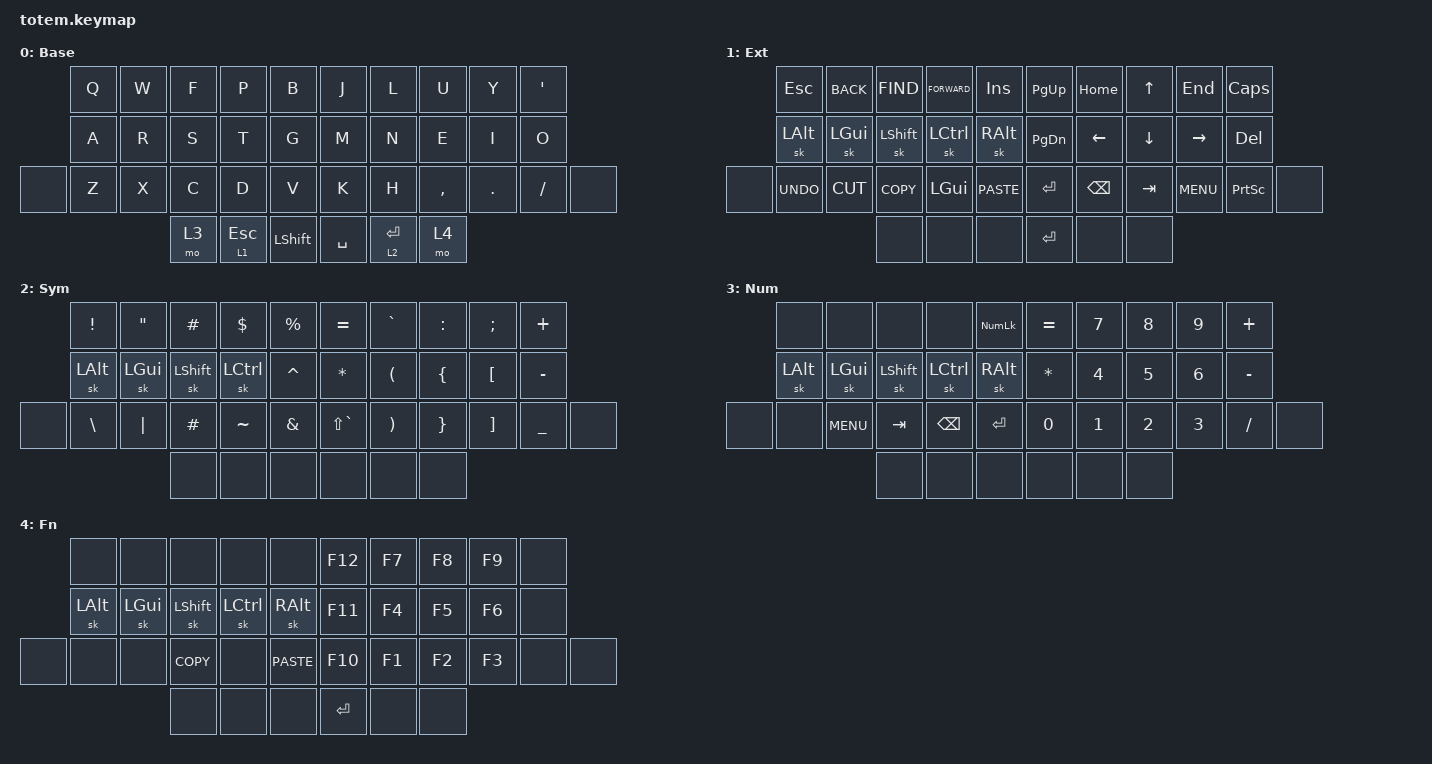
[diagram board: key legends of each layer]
//
//                                                        ▀▀▀▀▀     ▀▀▀▀▀          ▀▀█▀▀
//                                                        ▄▀▀▀▄  ▄  ▄▀▀▀▄  ▄  ▄▀▀▀▄  █  ▄▀▀▀▄
//                                                        █   █  █  █   █  █  █   █  █  █   █
//                                                         ▀▀▀   █   ▀▀▀   █   ▀▀▀   ▀   ▀▀▀
//                                                               █      ▄▄▄█▄▄▄    █   █  
//                                                               ▀      █  █  █     █▄█
//                                                             ▀▀▀▀▀    █  █  █      ▀
//                                                                      ▀  ▀  ▀
//
// ▄▄▄▄▄▄▄▄▄▄▄▄▄▄▄▄▄▄▄▄▄▄▄▄▄▄▄▄▄▄▄▄▄▄▄▄▄▄▄▄▄▄▄▄▄▄▄▄▄▄▄▄▄▄▄▄▄▄▄▄▄▄▄▄▄▄▄▄▄▄▄▄▄▄▄▄▄▄▄▄▄▄▄▄▄▄▄▄▄▄▄▄▄▄▄▄▄▄▄▄▄▄▄▄▄▄▄▄▄▄▄▄▄▄▄▄▄▄▄▄▄▄▄▄▄▄▄▄▄▄▄▄▄▄▄▄▄▄▄▄▄▄▄▄▄▄▄▄▄

#include <behaviors.dtsi>
#include <dt-bindings/zmk/keys.h>

#define Base        0
#define Media       1
#define Nav         2
#define Mouse       3
#define Sym         4
#define Num         5
#define Fun         6
#define Button      7
#define Game        8
#define Gameplus    9

&mt {
    quick-tap-ms = <100>;
    global-quick-tap;
    flavor = "tap-preferred";
    tapping-term-ms = <170>;
};

&lt {
    tapping-term-ms = <240>;
    flavor = "balanced";
    quick-tap-ms = <150>;
};

/ {
    behaviors {
        hm: homerow_mods {
            compatible = "zmk,behavior-hold-tap";
            label = "HOMEROW_MODS";
            #binding-cells = <2>;
            flavor = "tap-preferred";
            tapping-term-ms = <200>;
            quick-tap-ms = <125>;
            global-quick-tap;
            bindings = <&kp>, <&kp>;
        };
    };

    combos {
        compatible = "zmk,combos";

        combo_esc {
            timeout-ms = <50>;
            key-positions = <16 17>;
            bindings = <&kp ESC>;
        };
    };

    keymap {
        compatible = "zmk,keymap";

        Base {
            label = "Base";
            bindings = <
       &kp Q  &kp W  &kp F  &kp P         &kp B             &kp J      &kp L        &kp U      &kp Y    &kp APOSTROPHE
       &kp A  &kp R  &kp S  &kp T         &kp G             &kp M      &kp N        &kp E      &kp I    &kp O
&none  &kp Z  &kp X  &kp C  &kp D         &kp V             &kp K      &kp H        &kp COMMA  &kp DOT  &kp SLASH       &none
                     &mo 3  &lt 1 ESCAPE  &kp LEFT_SHIFT    &kp SPACE  &lt 2 ENTER  &mo 4
            >;
        };

        Ext {
            label = "Ext";
            bindings = <
       &kp ESC       &kp K_BACK    &kp K_FIND  &kp K_FORWARD  &kp INSERT     &kp PAGE_UP    &kp HOME        &kp UP_ARROW    &kp END          &kp CAPS
       &sk LEFT_ALT  &sk LEFT_GUI  &sk LSHFT   &sk LCTRL      &sk RALT       &kp PAGE_DOWN  &kp LEFT_ARROW  &kp DOWN_ARROW  &kp RIGHT_ARROW  &kp DELETE
&none  &kp K_UNDO    &kp K_CUT     &kp K_COPY  &kp LEFT_GUI   &kp K_PASTE    &kp ENTER      &kp BACKSPACE   &kp TAB         &kp K_MENU       &kp PRINTSCREEN  &none
                                   &none       &none          &none          &kp ENTER      &none           &none
            >;
        };

        Sym {
            label = "Sym";
            bindings = <
       &kp EXCL       &kp DOUBLE_QUOTES  &kp POUND       &kp DOLLAR  &kp PERCENT      &kp EQUAL      &kp GRAVE              &kp COLON        &kp SEMI           &kp PLUS
       &sk LEFT_ALT   &sk LEFT_GUI       &sk LEFT_SHIFT  &sk LCTRL   &kp CARET        &kp ASTERISK   &kp LEFT_PARENTHESIS   &kp LEFT_BRACE   &kp LEFT_BRACKET   &kp MINUS
&none  &kp BACKSLASH  &kp PIPE           &kp HASH        &kp TILDE   &kp AMPERSAND    &kp LS(GRAVE)  &kp RIGHT_PARENTHESIS  &kp RIGHT_BRACE  &kp RIGHT_BRACKET  &kp UNDERSCORE  &none
                                         &none           &none       &none            &none          &none                  &none
            >;
        };

        Num {
            label = "Num";
            bindings = <
       &none         &none         &none           &none          &kp KP_NUMLOCK    &kp EQUAL     &kp N7        &kp N8  &kp N9        &kp PLUS
       &sk LEFT_ALT  &sk LEFT_GUI  &sk LEFT_SHIFT  &sk LCTRL      &sk RALT          &kp ASTERISK  &kp NUMBER_4  &kp N5  &kp NUMBER_6  &kp MINUS
&none  &none         &kp K_MENU    &kp TAB         &kp BACKSPACE  &kp ENTER         &kp NUMBER_0  &kp N1        &kp N2  &kp N3        &kp SLASH  &none
                                   &none           &none          &none             &none         &none         &none
            >;
        };

        Fn {
            bindings = <
       &none         &none         &none           &none      &none            &kp F12    &kp F7  &kp F8  &kp F9  &none
       &sk LEFT_ALT  &sk LEFT_GUI  &sk LEFT_SHIFT  &sk LCTRL  &sk RIGHT_ALT    &kp F11    &kp F4  &kp F5  &kp F6  &none
&none  &none         &none         &kp K_COPY      &none      &kp K_PASTE      &kp F10    &kp F1  &kp F2  &kp F3  &none  &none
                                   &none           &none      &none            &kp ENTER  &none   &none
            >;
        };
    };
};
